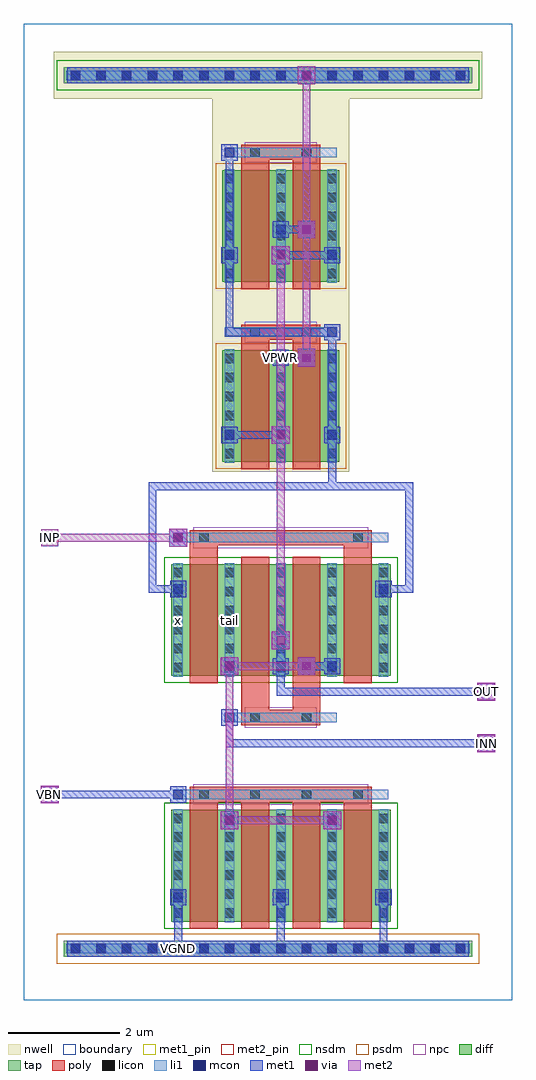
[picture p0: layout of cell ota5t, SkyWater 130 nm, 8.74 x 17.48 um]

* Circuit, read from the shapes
.subckt ota5t INN INP OUT VBN VGND VPWR tail x
XM1 tail VBN VGND VGND sky130_fd_pr__nfet_01v8 w=2 l=0.5 m=4
XM2 tail INP x VGND sky130_fd_pr__nfet_01v8 w=2 l=0.5 m=2
XM3 OUT INN tail VGND sky130_fd_pr__nfet_01v8 w=2 l=0.5 m=2
XM4 VPWR x OUT VPWR sky130_fd_pr__pfet_01v8 w=2 l=0.5 m=2
XM5 VPWR x x VPWR sky130_fd_pr__pfet_01v8 w=2 l=0.5 m=2
.ends

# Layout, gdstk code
import gdstk
lib = gdstk.Library(unit=1e-6, precision=1e-09)
def R(c, l, rs):  # rectangles x0, y0, x1, y1
    for r in rs: c.add(gdstk.rectangle(r[:2], r[2:], *l))
def A(c, l, x, y, w, h, nx, ny, dx, dy):  # array of equal rectangles
    R(c, l, [(x+i*dx, y+j*dy, x+i*dx+w, y+j*dy+h) for i in range(nx) for j in range(ny)])
nwell = (64, 20)
diff = (65, 20)
tap = (65, 44)
poly = (66, 20)
licon = (66, 44)
li1 = (67, 20)
mcon = (67, 44)
met1_pin = (68, 16)
met1 = (68, 20)
via = (68, 44)
met2_pin = (69, 16)
met2 = (69, 20)
nsdm = (93, 44)
psdm = (94, 20)
npc = (95, 20)
boundary = (235, 4)

ota5t = lib.new_cell('ota5t')
R(ota5t, nwell, [(3.375,9.46,5.825,16.14), (0.535,16.14,8.205,16.98)])
R(ota5t, diff, [(2.635,1.405,6.565,3.405), (2.635,5.805,6.565,7.805), (3.555,9.64,5.645,11.64), (3.555,12.86,5.645,14.86)])
R(ota5t, tap, [(0.715,0.775,8.025,1.065), (0.715,16.415,8.025,16.705)])
A(ota5t, poly, 2.97, 1.275, 0.5, 2.405, 4, 1, 0.92, 0)
R(ota5t, poly, [(2.97,3.545,6.23,3.815), (3.89,4.925,5.31,5.195), (3.89,5.06,4.39,7.935), (4.81,5.06,5.31,7.935), (2.97,5.675,3.47,8.28), (5.73,5.675,6.23,8.28), (2.97,8.145,6.23,8.415), (3.89,9.51,4.39,11.96), (4.81,9.51,5.31,11.96), (3.89,11.825,5.31,12.095), (3.89,12.73,4.39,15.18), (4.81,12.73,5.31,15.18), (3.89,15.045,5.31,15.315)])
A(ota5t, licon, 0.835, 0.835, 0.17, 0.17, 16, 2, 0.46, 15.64)
A(ota5t, licon, 2.675, 1.47, 0.17, 0.17, 5, 6, 0.92, 0.34)
A(ota5t, licon, 3.135, 3.595, 0.17, 0.17, 4, 1, 0.92, 0)
A(ota5t, licon, 2.675, 5.87, 0.17, 0.17, 5, 6, 0.92, 0.34)
A(ota5t, licon, 3.595, 9.705, 0.17, 0.17, 3, 6, 0.92, 0.34)
A(ota5t, licon, 3.595, 12.925, 0.17, 0.17, 3, 6, 0.92, 0.34)
R(ota5t, licon, [(4.055,4.975,4.225,5.145), (4.975,4.975,5.145,5.145), (3.135,8.195,3.305,8.365), (5.895,8.195,6.065,8.365), (4.055,11.875,4.225,12.045), (4.975,11.875,5.145,12.045), (4.055,15.095,4.225,15.265), (4.975,15.095,5.145,15.265)])
A(ota5t, li1, 2.675, 1.39, 0.17, 2.03, 5, 2, 0.92, 4.4)
A(ota5t, li1, 3.595, 9.625, 0.17, 2.03, 3, 2, 0.92, 3.22)
R(ota5t, li1, [(0.755,0.835,7.985,1.005), (2.675,3.595,6.525,3.765), (3.595,4.975,5.605,5.145), (2.675,8.195,6.525,8.365), (3.595,11.875,5.605,12.045), (3.595,15.095,5.605,15.265), (0.755,16.475,7.985,16.645)])
A(ota5t, mcon, 0.835, 0.835, 0.17, 0.17, 16, 2, 0.46, 15.64)
A(ota5t, mcon, 2.675, 1.755, 0.17, 0.17, 3, 1, 1.84, 0)
A(ota5t, mcon, 3.595, 5.895, 0.17, 0.17, 3, 1, 0.92, 0)
R(ota5t, mcon, [(3.595,3.135,3.765,3.305), (5.435,3.135,5.605,3.305), (2.675,3.595,2.845,3.765), (3.595,4.975,3.765,5.145), (2.675,7.275,2.845,7.445), (6.355,7.275,6.525,7.445), (2.675,8.195,2.845,8.365), (3.595,10.035,3.765,10.205), (5.435,10.035,5.605,10.205), (4.515,11.415,4.685,11.585), (5.435,11.875,5.605,12.045), (3.595,13.255,3.765,13.425), (5.435,13.255,5.605,13.425), (4.515,13.715,4.685,13.885), (3.595,15.095,3.765,15.265)])
R(ota5t, met1_pin, [(2.69,0.85,2.83,0.99), (4.455,11.355,4.745,11.645)])
A(ota5t, met1, 2.69, 0.85, 0.14, 1.06, 3, 1, 1.84, 0)
A(ota5t, met1, 2.615, 1.695, 0.29, 0.29, 3, 1, 1.84, 0)
A(ota5t, met1, 3.535, 5.835, 0.29, 0.29, 3, 1, 0.92, 0)
R(ota5t, met1, [(0.775,0.775,7.965,1.065), (2.69,0.85,2.83,0.99), (2.69,0.85,4.67,0.99), (4.53,0.85,6.51,0.99), (3.52,3.06,3.84,3.38), (5.36,3.06,5.68,3.38), (3.535,3.075,3.825,3.365), (5.375,3.075,5.665,3.365), (0.3,3.52,0.62,3.84), (2.615,3.535,2.905,3.825), (0.39,3.61,2.83,3.75), (8.12,4.44,8.44,4.76), (3.61,4.53,3.75,5.13), (3.61,4.53,8.35,4.67), (3.535,4.915,3.825,5.205), (8.12,5.36,8.44,5.68), (4.53,5.45,4.67,6.05), (4.53,5.45,8.35,5.59), (3.52,5.82,3.84,6.14), (4.9,5.82,5.22,6.14), (4.53,5.91,4.67,6.51), (4.99,5.91,5.59,6.05), (4.44,6.28,4.76,6.6), (2.615,7.215,2.905,7.505), (6.295,7.215,6.585,7.505), (2.23,7.29,2.83,7.43), (2.23,7.29,2.37,9.27), (6.37,7.29,6.97,7.43), (6.83,7.29,6.97,9.27), (2.6,8.12,2.92,8.44), (2.615,8.135,2.905,8.425), (2.23,9.13,5.59,9.27), (5.45,9.13,5.59,10.19), (5.45,9.13,6.97,9.27), (4.44,9.96,4.76,10.28), (3.535,9.975,3.825,10.265), (5.375,9.975,5.665,10.265), (3.61,10.05,4.67,10.19), (5.45,10.05,5.59,12.03), (4.9,11.34,5.22,11.66), (4.455,11.355,4.745,11.645), (4.53,11.43,5.13,11.57), (5.375,11.815,5.665,12.105), (3.61,11.89,5.59,12.03), (3.61,11.89,3.75,13.41), (4.44,13.18,4.76,13.5), (3.535,13.195,3.825,13.485), (5.375,13.195,5.665,13.485), (3.61,13.27,3.75,15.25), (4.53,13.27,5.59,13.41), (4.9,13.64,5.22,13.96), (4.455,13.655,4.745,13.945), (4.53,13.73,5.13,13.87), (3.535,15.035,3.825,15.325), (4.9,16.4,5.22,16.72), (0.775,16.415,7.965,16.705), (4.99,16.49,5.13,16.63)])
R(ota5t, via, [(3.605,3.145,3.755,3.295), (5.445,3.145,5.595,3.295), (0.385,3.605,0.535,3.755), (8.205,4.525,8.355,4.675), (8.205,5.445,8.355,5.595), (3.605,5.905,3.755,6.055), (4.985,5.905,5.135,6.055), (4.525,6.365,4.675,6.515), (2.685,8.205,2.835,8.355), (4.525,10.045,4.675,10.195), (4.985,11.425,5.135,11.575), (4.525,13.265,4.675,13.415), (4.985,13.725,5.135,13.875), (4.985,16.485,5.135,16.635)])
R(ota5t, met2_pin, [(0.31,3.53,0.61,3.83), (8.13,4.45,8.43,4.75), (8.13,5.37,8.43,5.67), (0.31,8.13,0.61,8.43)])
R(ota5t, met2, [(3.52,3.06,3.84,3.38), (5.36,3.06,5.68,3.38), (3.61,3.15,3.75,6.05), (3.61,3.15,5.59,3.29), (0.3,3.52,0.62,3.84), (0.31,3.53,0.61,3.83), (0.39,3.61,0.53,3.75), (8.12,4.44,8.44,4.76), (8.13,4.45,8.43,4.75), (8.21,4.53,8.35,4.67), (8.12,5.36,8.44,5.68), (8.13,5.37,8.43,5.67), (8.21,5.45,8.35,5.59), (3.52,5.82,3.84,6.14), (4.9,5.82,5.22,6.14), (3.61,5.91,5.13,6.05), (4.44,6.28,4.76,6.6), (4.53,6.37,4.67,10.19), (2.6,8.12,2.92,8.44), (0.31,8.13,0.61,8.43), (0.39,8.21,0.53,8.35), (0.39,8.21,2.83,8.35), (4.44,9.96,4.76,10.28), (4.53,10.05,4.67,13.41), (4.9,11.34,5.22,11.66), (4.99,11.43,5.13,13.87), (4.44,13.18,4.76,13.5), (4.9,13.64,5.22,13.96), (4.99,13.73,5.13,16.63), (4.9,16.4,5.22,16.72)])
R(ota5t, nsdm, [(2.51,1.28,6.69,3.53), (2.51,5.68,6.69,7.93), (0.59,16.29,8.15,16.83)])
R(ota5t, psdm, [(0.59,0.65,8.15,1.19), (3.43,9.515,5.77,11.765), (3.43,12.735,5.77,14.985)])
R(ota5t, npc, [(3.035,3.495,6.165,3.865), (3.955,4.875,5.245,5.245), (3.035,8.095,6.165,8.465), (3.955,11.775,5.245,12.145), (3.955,14.995,5.245,15.365)])
R(ota5t, boundary, [(0,0,8.74,17.48)])
ota5t.add(gdstk.Label('x', (2.76,6.805), layer=67, texttype=5))
ota5t.add(gdstk.Label('tail', (3.68,6.805), layer=67, texttype=5))
ota5t.add(gdstk.Label('VPWR', (4.6,11.5), layer=68, texttype=5))
ota5t.add(gdstk.Label('VGND', (2.76,0.92), layer=68, texttype=5))
ota5t.add(gdstk.Label('INP', (0.46,8.28), layer=69, texttype=5))
ota5t.add(gdstk.Label('INN', (8.28,4.6), layer=69, texttype=5))
ota5t.add(gdstk.Label('VBN', (0.46,3.68), layer=69, texttype=5))
ota5t.add(gdstk.Label('OUT', (8.28,5.52), layer=69, texttype=5))
ota5t.add(gdstk.Label('VPWR', (4.6,11.5), layer=68, texttype=16))
ota5t.add(gdstk.Label('VGND', (2.76,0.92), layer=68, texttype=16))
ota5t.add(gdstk.Label('INP', (0.46,8.28), layer=69, texttype=16))
ota5t.add(gdstk.Label('INN', (8.28,4.6), layer=69, texttype=16))
ota5t.add(gdstk.Label('VBN', (0.46,3.68), layer=69, texttype=16))
ota5t.add(gdstk.Label('OUT', (8.28,5.52), layer=69, texttype=16))

lib.write_gds('ota5t.gds')
